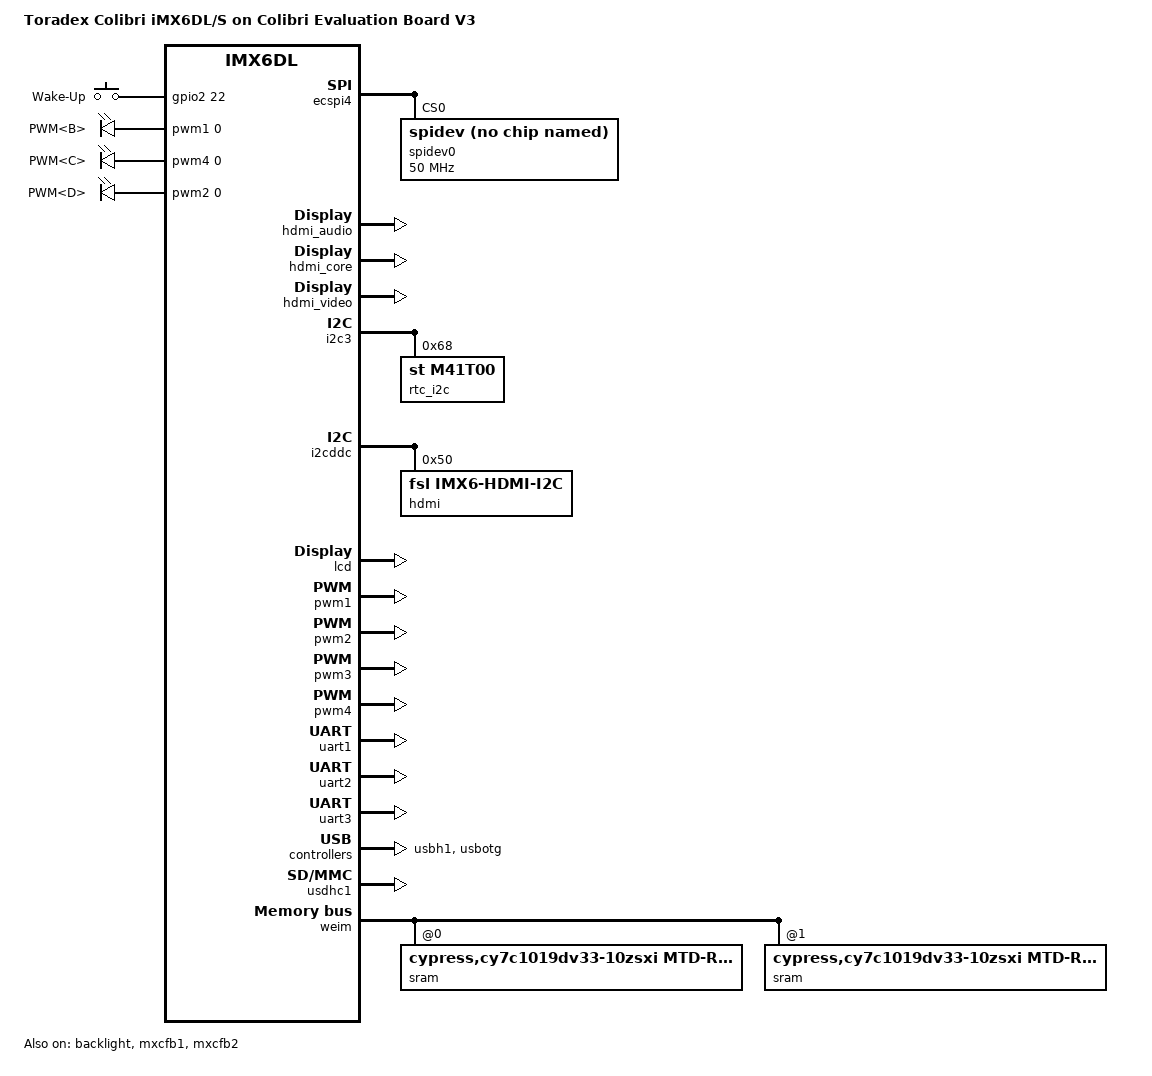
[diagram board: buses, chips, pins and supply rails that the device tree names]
/*
 * Copyright 2014-2015 Toradex AG
 * Copyright 2012 Freescale Semiconductor, Inc.
 * Copyright 2011 Linaro Ltd.
 *
 * The code contained herein is licensed under the GNU General Public
 * License. You may obtain a copy of the GNU General Public License
 * Version 2 or later at the following locations:
 *
 * http://www.opensource.org/licenses/gpl-license.html
 * http://www.gnu.org/copyleft/gpl.html
 */

/dts-v1/;

#include <dt-bindings/input/input.h>
#include <dt-bindings/interrupt-controller/irq.h>
#include "imx6dl.dtsi"
#include "imx6qdl-colibri.dtsi"

/ {
	model = "Toradex Colibri iMX6DL/S on Colibri Evaluation Board V3";
	compatible = "toradex,colibri_imx6dl-eval", "toradex,colibri_imx6dl", "fsl,imx6dl";

	aliases {
		i2c0 = &i2cddc;
		i2c1 = &i2c2;
		i2c2 = &i2c3;
	};

	aliases {
		rtc0 = &rtc_i2c;
		rtc1 = "/soc/aips-bus@02000000/snvs@020cc000/snvs-rtc-lp@34";
	};

	aliases {
		/* the following, together with kernel patches, forces a fixed assignment
		   between device id and usdhc controller */
		/* i.e. the eMMC on usdhc3 will be /dev/mmcblk0 */
		mmc0 = &usdhc3; /* eMMC */
		mmc1 = &usdhc1; /* MMC 4bit slot */
	};

	gpio-keys {
		compatible = "gpio-keys";
		pinctrl-names = "default";
		pinctrl-0 = <&pinctrl_gpio_keys>;

		wakeup {
			label = "Wake-Up";
			gpios = <&gpio2 22 GPIO_ACTIVE_HIGH>;
			linux,code = <KEY_WAKEUP>;
			debounce-interval = <10>;
			gpio-key,wakeup;
		};
	};

	pwmleds {
		compatible = "pwm-leds";
		ledpwm2 {
			label = "PWM<B>";
			pwms = <&pwm1 0 50000>;
			max-brightness = <255>;
		};

		ledpwm3 {
			label = "PWM<C>";
			pwms = <&pwm4 0 50000>;
			max-brightness = <255>;
		};

		ledpwm4 {
			label = "PWM<D>";
			pwms = <&pwm2 0 50000>;
			max-brightness = <255>;
		};
	};

	regulators {
		reg_usb_host_vbus: usb_host_vbus {
			status = "okay";
		};
	};
};

&backlight {
#if 0 /* PWM polarity: if 1 is brightest */
#if 0 /* Fusion 7 needs 10kHz PWM frequency */
	pwms = <&pwm3 0 100000>;
#endif
	brightness-levels = <0 4 8 16 32 64 128 255>;
	default-brightness-level = <6>;
#else /* PWM plarity: if 0 is brightest */
	brightness-levels = <0 127 191 223 239 247 251 255>;
	default-brightness-level = <1>;
#endif
	status = "okay";
};

/* Colibri SPI */
&ecspi4 {
	status = "okay";

	spidev0: spidev@1 {
		compatible = "spidev";
		reg = <0>;
		spi-max-frequency = <50000000>;
	};
};

&hdmi_audio {
	status = "okay";
};

&hdmi_core {
	status = "okay";
};

&hdmi_video {
	status = "okay";
};

/*
 * I2C: I2C3_SDA/SCL on SODIMM 194/196 (e.g. RTC on carrier
 * board)
 */
&i2c3 {
	status = "okay";
#if 0 /* not standard pinout, disable PWM<B>, PWM<C>
	pcap@10 {
		/* TouchRevolution Fusion 7 and 10 multi-touch controller */
		compatible = "touchrevolution,fusion-f0710a";
		reg = <0x10>;
		gpios = <&gpio1  9 0 /* SODIMM 28, Pen down interrupt */
			 &gpio2 10 0 /* SODIMM 30, Reset */
			>;
	};
#endif
	/* M41T0M6 real time clock on carrier board */
	rtc_i2c: rtc@68 {
		compatible = "st,m41t00";
		reg = <0x68>;
	};
};

/*
 * DDC_I2C: I2C2_SDA/SCL on extension connector pin 15/16
 */
&i2cddc {
	status = "okay";

	hdmi: edid@50 {
		compatible = "fsl,imx6-hdmi-i2c";
		reg = <0x50>;
	};
};

&iomuxc {
	/*
	 * Mux all pins which are unused to be GPIOs
	 * so they are ready for export to user space
	 */
	pinctrl-names = "default";
	pinctrl-0 = <&pinctrl_weim_gpio_1 &pinctrl_weim_gpio_2
	             &pinctrl_weim_gpio_3 &pinctrl_weim_gpio_4
	             &pinctrl_weim_gpio_5
	             &pinctrl_csi_gpio_1
	             &pinctrl_gpio_1
	             &pinctrl_usbh_oc_1 &pinctrl_usbc_id_1
	             &pinctrl_usbc_det_1>;
};

&lcd {
	status = "okay";
};

&mxcfb1 {
	status = "okay";
};

&mxcfb2 {
	status = "okay";
};

&pwm1 {
	status = "okay";
};

&pwm2 {
	status = "okay";
};

&pwm3 {
	status = "okay";
};

&pwm4 {
	status = "okay";
};

&sound_hdmi {
	status = "okay";
};

&uart1 {
	status = "okay";
};

&uart2 {
	status = "okay";
#if 0
	linux,rs485-enabled-at-boot-time;
#endif
};

&uart3 {
	status = "okay";
};

&usbh1 {
	status = "okay";
};

&usbotg {
	status = "okay";
};

/* MMC */
&usdhc1 {
	status = "okay";
};

&weim {
	status = "okay";
	/* weim memory map: 32MB on CS0, 32MB on CS1, 32MB on CS2 */
	ranges = <0 0 0x08000000 0x02000000
	          1 0 0x0a000000 0x02000000
	          2 0 0x0c000000 0x02000000>;
	/* SRAM on CS0 */
	sram@0,0 {
		compatible = "cypress,cy7c1019dv33-10zsxi, mtd-ram";
		reg = <0 0 0x00010000>;
		#address-cells = <1>;
		#size-cells = <1>;
		bank-width = <2>;
		fsl,weim-cs-timing = <0x00010081 0x00000000 0x04000000
				0x00000000 0x04000040 0x00000000>;
	};
	/* SRAM on CS1 */
	sram@1,0 {
		compatible = "cypress,cy7c1019dv33-10zsxi, mtd-ram";
		reg = <1 0 0x00010000>;
		#address-cells = <1>;
		#size-cells = <1>;
		bank-width = <2>;
		fsl,weim-cs-timing = <0x00010081 0x00000000 0x04000000
				0x00000000 0x04000040 0x00000000>;
	};
};
